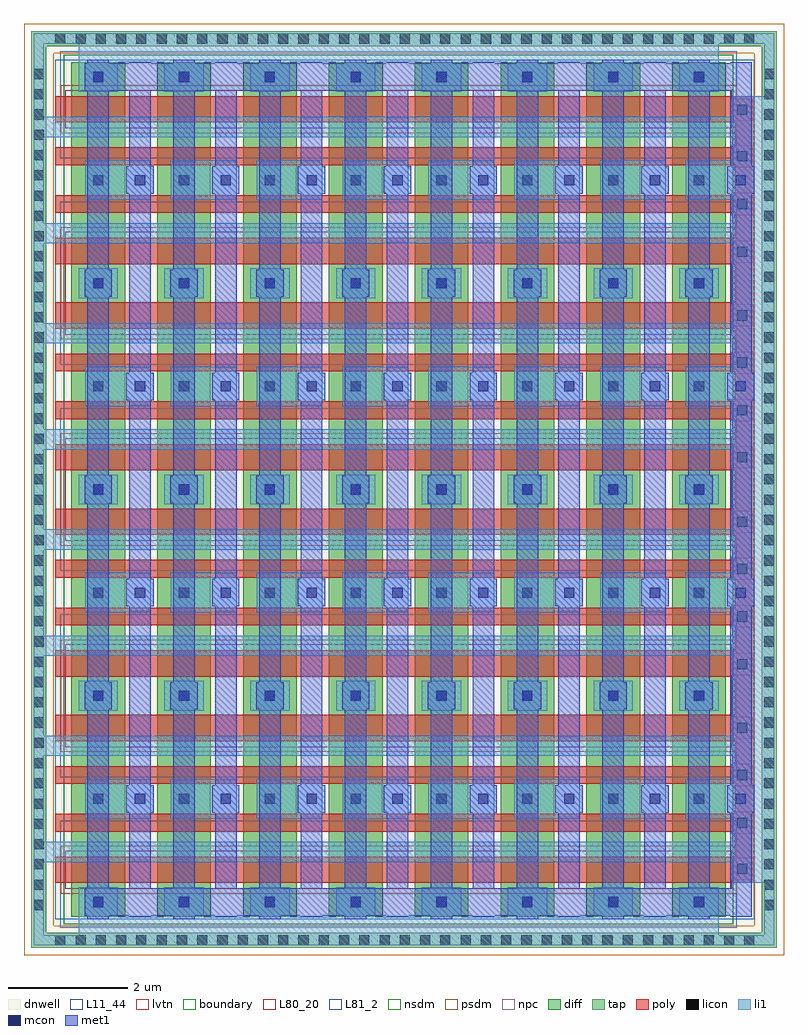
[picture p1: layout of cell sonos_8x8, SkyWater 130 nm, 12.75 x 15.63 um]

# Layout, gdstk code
import gdstk
lib = gdstk.Library(unit=1e-6, precision=1e-09)
def R(c, l, rs):  # rectangles x0, y0, x1, y1
    for r in rs: c.add(gdstk.rectangle(r[:2], r[2:], *l))
def A(c, l, x, y, w, h, nx, ny, dx, dy):  # array of equal rectangles
    R(c, l, [(x+i*dx, y+j*dy, x+i*dx+w, y+j*dy+h) for i in range(nx) for j in range(ny)])
L11_44 = (11, 44)
dnwell = (64, 18)
diff = (65, 20)
tap = (65, 44)
poly = (66, 20)
licon = (66, 44)
li1 = (67, 20)
mcon = (67, 44)
met1 = (68, 20)
L80_20 = (80, 20)
L81_2 = (81, 2)
nsdm = (93, 44)
psdm = (94, 20)
npc = (95, 20)
lvtn = (125, 44)
boundary = (235, 4)

sonos_cell = lib.new_cell('sonos_cell')
R(sonos_cell, L11_44, [(-0.635,-1.405,0.635,0.395)])
R(sonos_cell, dnwell, [(-0.72,-1.26,0.72,1.09)])
R(sonos_cell, diff, [(-0.45,-1.22,0.45,1.01)])
R(sonos_cell, poly, [(-0.72,-0.65,0.72,-0.21), (-0.72,0.21,0.72,0.51)])
R(sonos_cell, licon, [(-0.085,-1.055,0.085,-0.885), (-0.085,0.675,0.085,0.845)])
R(sonos_cell, li1, [(-0.33,-1.22,0.33,-0.72), (-0.72,-0.3,0.72,0.04), (-0.22,0.43,0.88,1.09)])
R(sonos_cell, mcon, [(-0.085,-1.055,0.085,-0.885), (0.615,0.675,0.785,0.845)])
R(sonos_cell, met1, [(-0.18,-1.26,0.18,-1.2), (0.52,-1.22,0.88,0.53), (-0.23,-1.2,0.23,-0.74), (-0.18,-0.74,0.18,1.01), (0.47,0.53,0.93,0.99), (0.52,0.99,0.88,1.05)])
R(sonos_cell, L80_20, [(-0.55,-0.75,0.55,-0.11)])
R(sonos_cell, L81_2, [(-0.72,-1.26,0.93,1.09)])
R(sonos_cell, nsdm, [(-0.575,-1.345,0.575,1.135)])
R(sonos_cell, lvtn, [(-0.63,-0.83,0.63,-0.03)])
R(sonos_cell, boundary, [(-0.72,-1.26,0.93,1.09)])

sonos_cell_mirrored = lib.new_cell('sonos_cell_mirrored')
R(sonos_cell_mirrored, boundary, [(0.8,0.8,2.4,4.84)])
sonos_cell_mirrored.add(gdstk.Reference(sonos_cell, (1.52,3.58), x_reflection=True))
sonos_cell_mirrored.add(gdstk.Reference(sonos_cell, (1.52,2.06)))

sonos_8x8 = lib.new_cell('sonos_8x8')
A(sonos_8x8, L11_44, 1.355, -0.145, 0.17, 1.8, 7, 2, 1.44, 12.91)
A(sonos_8x8, L11_44, 1.355, 2.385, 0.17, 2.73, 7, 3, 1.44, 3.46)
R(sonos_8x8, dnwell, [(-0.4,-0.48,12.1,14.9)])
R(sonos_8x8, tap, [(-0.4,-0.48,12.1,-0.23), (-0.4,-0.23,-0.15,14.65), (11.85,-0.23,12.1,14.65), (-0.4,14.65,12.1,14.9)])
R(sonos_8x8, poly, [(11.4,0.61,11.73,13.81)])
A(sonos_8x8, licon, 0, -0.44, 0.17, 0.17, 35, 2, 0.34, 15.13)
A(sonos_8x8, licon, -0.36, 0.155, 0.17, 0.17, 1, 42, 0, 0.34)
A(sonos_8x8, licon, 11.89, 0.155, 0.17, 0.17, 1, 42, 0, 0.34)
A(sonos_8x8, licon, 11.44, 4.195, 0.17, 0.17, 1, 3, 0, 0.8)
A(sonos_8x8, licon, 11.44, 11.115, 0.17, 0.17, 1, 3, 0, 0.8)
R(sonos_8x8, licon, [(11.44,0.765,11.61,0.935), (11.44,1.535,11.61,1.705), (11.44,2.335,11.61,2.505), (11.44,3.125,11.61,3.295), (11.44,6.585,11.61,6.755), (11.44,7.665,11.61,7.835), (11.44,8.455,11.61,8.625), (11.44,9.255,11.61,9.425), (11.44,10.045,11.61,10.215), (11.44,13.495,11.61,13.665)])
A(sonos_8x8, li1, -0.36, 1.3, 0.17, 1.44, 1, 4, 0, 3.46)
A(sonos_8x8, li1, -0.36, 3.08, 0.17, 1.34, 1, 3, 0, 3.46)
R(sonos_8x8, li1, [(-0.36,-0.44,12.06,-0.27), (-0.36,-0.27,-0.19,0.96), (0.39,-0.27,11.13,0.04), (11.89,-0.27,12.06,0.61), (11.36,0.61,12.06,13.81), (-0.36,0.96,0,1.3), (-0.36,2.74,0,3.08), (-0.36,4.42,0,4.76), (-0.36,6.2,0,6.54), (-0.36,7.88,0,8.22), (-0.36,9.66,0,10), (-0.36,11.34,0,11.68), (-0.36,13.12,0,13.46), (-0.36,13.46,-0.19,14.69), (11.89,13.81,12.06,14.69), (0.39,14.38,11.13,14.69), (-0.36,14.69,12.06,14.86)])
R(sonos_8x8, met1, [(0.92,0.06,11.55,0.52), (0.95,13.9,11.52,14.36)])
A(sonos_8x8, L80_20, 1.27, 0.51, 0.34, 0.64, 7, 2, 1.44, 2.38)
A(sonos_8x8, L80_20, 0.17, 3.53, 11.18, 0.44, 1, 3, 0, 3.46)
A(sonos_8x8, L80_20, 1.27, 3.97, 0.34, 0.64, 7, 2, 1.44, 2.38)
A(sonos_8x8, L80_20, 1.27, 7.43, 0.34, 0.64, 7, 2, 1.44, 2.38)
A(sonos_8x8, L80_20, 1.27, 10.89, 0.34, 0.64, 7, 2, 1.44, 2.38)
A(sonos_8x8, nsdm, 1.295, -0.085, 0.29, 14.59, 7, 1, 1.44, 0)
R(sonos_8x8, psdm, [(-0.525,-0.605,12.225,-0.105), (-0.525,-0.105,-0.025,14.525), (11.725,-0.105,12.225,14.525), (-0.525,14.525,12.225,15.025)])
A(sonos_8x8, npc, 11.34, 4.095, 0.37, 0.37, 1, 3, 0, 0.8)
A(sonos_8x8, npc, 11.34, 11.015, 0.37, 0.37, 1, 3, 0, 0.8)
R(sonos_8x8, npc, [(11.34,0.665,11.71,1.035), (11.34,1.435,11.71,1.805), (11.34,2.235,11.71,2.605), (11.34,3.025,11.71,3.395), (11.34,6.485,11.71,6.855), (11.34,7.565,11.71,7.935), (11.34,8.355,11.71,8.725), (11.34,9.155,11.71,9.525), (11.34,9.945,11.71,10.315), (11.34,13.395,11.71,13.765)])
A(sonos_8x8, lvtn, 1.35, 0.43, 0.18, 0.8, 7, 2, 1.44, 2.38)
A(sonos_8x8, lvtn, 0.09, 3.61, 11.34, 0.28, 1, 3, 0, 3.46)
A(sonos_8x8, lvtn, 1.35, 3.89, 0.18, 0.8, 7, 2, 1.44, 2.38)
A(sonos_8x8, lvtn, 1.35, 7.35, 0.18, 0.8, 7, 2, 1.44, 2.38)
A(sonos_8x8, lvtn, 1.35, 10.81, 0.18, 0.8, 7, 2, 1.44, 2.38)
r = gdstk.Reference(sonos_cell_mirrored, (-0.8,-0.8)); r.repetition = gdstk.Repetition(8, 4, v1=(1.44,0), v2=(0,3.46)); sonos_8x8.add(r)

lib.write_gds('sonos_8x8.gds')
